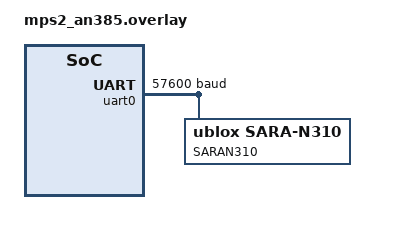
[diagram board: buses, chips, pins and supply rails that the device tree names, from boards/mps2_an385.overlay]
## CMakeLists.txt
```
# SPDX-License-Identifier: Apache-2.0

cmake_minimum_required(VERSION 3.13.1)
find_package(Zephyr REQUIRED HINTS $ENV{ZEPHYR_BASE})
project(ublox_sara_n310)


zephyr_library_include_directories(
    ${ZEPHYR_BASE}/include
    ${ZEPHYR_BASE}/subsys/net/lib/socks/
    ${ZEPHYR_BASE}/drivers/modem/
)

target_sources(app PRIVATE src/main.c src/n310_stub.c )
```

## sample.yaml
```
sample:
  name: N310 Modem Sample
tests:
  sample.drivers.ublox_sara_n310:
    # tags: modem net
  #  depends_on: gpio modem net
    build_only: false
    platform_allow:  stm32l1_disco
     #integration_platforms: frdm_k64f
```

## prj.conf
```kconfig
### required for driver but selected by board/SoC already ###
CONFIG_SERIAL=y

# ### required for driver but not selected by board/SoC ###
CONFIG_NETWORKING=y
CONFIG_NET_SOCKETS=y
CONFIG_NET_SOCKETS_POSIX_NAMES=y
CONFIG_NET_IPV4=y
CONFIG_NET_IPV6=n
CONFIG_LOG=y
CONFIG_MODEM=y
CONFIG_MODEM_SOCKET=y
CONFIG_MODEM_CONTEXT=y
CONFIG_MODEM_LOG_LEVEL_DBG=y
# CONFIG_MODEM_UBLOX_SARA_N310_INIT_PRIORITY=80
CONFIG_NET_OFFLOAD=y
CONFIG_ZTEST=y
CONFIG_ZTEST_MOCKING=y
```

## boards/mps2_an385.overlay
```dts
/*
 * Copyright (c) 2021 Abel Sensors
 *
 * SPDX-License-Identifier: Apache-2.0
 */

&uart0 {
    status = "okay";
    current-speed = <57600>;

    saran310 {
        compatible = "ublox,sara-n310";
        label = "SARAN310";
    };
};
```

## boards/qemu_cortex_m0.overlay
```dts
/*
 * Copyright (c) 2021 Abel Sensors
 *
 * SPDX-License-Identifier: Apache-2.0
 */

/* SRAM and FLASH sizes are increased to match that of the stm32l152c */
&sram0 {
	reg = <0x20000000 DT_SIZE_K(32)>;
};

&flash0 {
	reg = <0x08000000 DT_SIZE_K(256)>;
};

&uart0 {
    status = "okay";
    current-speed = <57600>;

    saran310 {
        compatible = "ublox,sara-n310";
        label = "SARAN310";
    };
};
```

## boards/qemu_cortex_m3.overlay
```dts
&uart0 {
    status = "okay";
    current-speed = <57600>;

    saran310 {
        compatible = "ublox,sara-n310";
        label = "SARAN310";
    };
};
```

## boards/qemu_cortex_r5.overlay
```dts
/*
 * Copyright (c) 2021 Abel Sensors
 *
 * SPDX-License-Identifier: Apache-2.0
 */

/* SRAM and FLASH sizes are increased to match that of the stm32l152c */
// &sram0 {
// 	reg = <0x20000000 DT_SIZE_K(32)>;
// };

// &flash0 {
// 	reg = <0x08000000 DT_SIZE_K(256)>;
// };

&uart0 {
    status = "okay";
    current-speed = <57600>;

    saran310 {
        compatible = "ublox,sara-n310";
        label = "SARAN310";
    };
};
```

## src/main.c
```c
/*
 * Copyright (c) 2021 Abel Sensors
 *
 * SPDX-License-Identifier: Apache-2.0
// //  */

#include <zephyr.h>
#include <net/socket.h>
#include <drivers/modem/ublox-sara-n310.h>
#include <ztest.h>
#include <device.h>
#include "sockets_internal.h"
#include <sys/fdtable.h>


#include <modem_context.h>
#include <modem_cmd_handler.h>
#include <modem_iface_uart.h>
#include <ztest.h>

#include "n310_stub.h"

#define N310_DEVICE_LABEL DT_LABEL(DT_INST(0, ublox_sara_n310))
#define MAX_BUF 512

static const struct device *dev_ubloxn3;
extern struct socket_op_vtable *offload_socket_fd_op_vtable_mock;
extern struct net_if_api* api_funcs_mock;


static int offload_bind_mock(void *obj, const struct sockaddr *addr,
			     socklen_t addrlen)
{
	printk("offload_bind_mock\n");
	return 0;
}

static int offload_connect_mock(void *obj, const struct sockaddr *addr,
				socklen_t addrlen)
{
	printk("offload_connect_mock");
	return 0;
}

static ssize_t offload_sendto_mock(void *obj, const void *buf, size_t len,
			      int flags, const struct sockaddr *to,
			      socklen_t tolen)
{
	printk("offload_sendto_mock");
	return 0;
}

void test_device_struct(){
        dev_ubloxn3 = device_get_binding(N310_DEVICE_LABEL);
        zassert_not_null(dev_ubloxn3, "N310 device not found");
        struct modem_data *mdm = dev_ubloxn3->data;
        zassert_not_null(mdm, "N310 modem data not found");
}

void test_info_set(){
       zassert_not_null(n310_get_manufacturer(),"N310 Manufacturer not set");
       zassert_not_null(n310_get_iccid(),"N310 iccid not set");
       zassert_not_null(n310_get_model(),"N310 model not set");
       zassert_not_null(n310_get_revision(),"N310 revision not set");
       zassert_not_null(n310_get_imei(),"N310 imei not set");
       zassert_not_null(n310_get_ip(),"N310 IP not set");
}

void test_socket(){
	int ret = create_socket_stub(NULL,NULL);
	zassert_true(ret>=0,"n310 create socket not working");

	/*create socket in user space */
	int sockfd = socket(AF_INET, SOCK_DGRAM, IPPROTO_UDP);
	zassert_true(sockfd >= 0, "socket in user space not created");

	struct sockaddr_in addr;
	memset(&addr, 0, sizeof(addr));
	addr.sin_family = AF_INET;
	addr.sin_port = htons(4242);
	inet_pton(AF_INET, "192.168.0.20", &addr.sin_addr);

	ret = connect(sockfd, (const struct sockaddr *)&addr, sizeof(addr));
	zassert_true(ret >= 0, "connect failed");

    char *buffer = "ABDD";
	ret = sendto(sockfd, buffer, strlen(buffer) / 2,
		   RELEASE_AFTER_FIRST_DOWNLINK, (const struct sockaddr *)&addr,
		   sizeof(addr));
	zassert_true(ret >= 0, "send failed");
	
}

void test_status(){	
	int ret = n310_get_state();
	zassert_true(ret>=0,"n310 state not working correctly");
}

void test_main(void)
{
	setup_tests();
	ztest_test_suite(n310_test,
    ztest_unit_test(test_info_set),
    ztest_unit_test(test_device_struct),
    ztest_unit_test(test_status),
    ztest_unit_test(test_socket)	
	);
	ztest_run_test_suite(n310_test);
}
```

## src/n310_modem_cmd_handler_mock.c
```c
#include "n310_modem_cmd_handler_mock.h"

#include "tracing.h"
 int cmd_handler_process_iface_data(struct modem_cmd_handler_data *data,
					  struct modem_iface *iface)
{
	struct net_buf *last;
	size_t bytes_read = 0;
	int ret;

	if (!data->rx_buf) {
		data->rx_buf = net_buf_alloc(data->buf_pool,
					     data->alloc_timeout);
		if (!data->rx_buf) {
			/* there is potentially more data waiting */
			return -ENOMEM;
		}
	}

	last = net_buf_frag_last(data->rx_buf);

	/* read all of the data from modem iface */
	while (true) {
		struct net_buf *frag = last;
		size_t frag_room = net_buf_tailroom(frag);

		if (!frag_room) {
			frag = net_buf_alloc(data->buf_pool,
					    data->alloc_timeout);
			if (!frag) {
				/* there is potentially more data waiting */
				return -ENOMEM;
			}

			net_buf_frag_insert(last, frag);
			last = frag;

			frag_room = net_buf_tailroom(frag);
		}

		ret = iface->read(iface, net_buf_tail(frag), frag_room,
				  &bytes_read);
		if (ret < 0 || bytes_read == 0) {
			/* modem context buffer is empty */
			return 0;
		}

		net_buf_add(frag, bytes_read);
	}
}


static bool starts_with(struct net_buf *buf, const char *str)
{
	int pos = 0;

	while (buf && buf->len && *str) {
		if (*(buf->data + pos) == *str) {
			str++;
			pos++;
			if (pos >= buf->len) {
				buf = buf->frags;
				pos = 0;
			}
		} else {
			return false;
		}
	}

	if (*str == 0) {
		return true;
	}

	return false;
}


/* return scanned length for params */
static int parse_params(struct modem_cmd_handler_data *data,  size_t match_len,
			const struct modem_cmd *cmd,
			uint8_t **argv, size_t argv_len, uint16_t *argc)
{
	int i, count = 0;
	size_t begin, end;

	if (!data || !data->match_buf || !match_len || !cmd || !argv || !argc) {
		return -EINVAL;
	}

	begin = cmd->cmd_len;
	end = cmd->cmd_len;
	while (end < match_len) {
		for (i = 0; i < strlen(cmd->delim); i++) {
			if (data->match_buf[end] == cmd->delim[i]) {
				/* mark a parameter beginning */
				argv[*argc] = &data->match_buf[begin];
				/* end parameter with NUL char */
				data->match_buf[end] = '\0';
				/* bump begin */
				begin = end + 1;
				count += 1;
				(*argc)++;
				break;
			}
		}

		if (count >= cmd->arg_count_max) {
			break;
		}

		if (*argc == argv_len) {
			break;
		}

		end++;
	}

	/* consider the ending portion a param if end > begin */
	if (end > begin) {
		/* mark a parameter beginning */
		argv[*argc] = &data->match_buf[begin];
		/* end parameter with NUL char
		 * NOTE: if this is at the end of match_len will probably
		 * be overwriting a NUL that's already ther
		 */
		data->match_buf[end] = '\0';
		(*argc)++;
	}

	/* missing arguments */
	if (*argc < cmd->arg_count_min) {
		return -EAGAIN;
	}

	/*
	 * return the beginning of the next unfinished param so we don't
	 * "skip" any data that could be parsed later.
	 */
	return begin - cmd->cmd_len;
}

/* process a "matched" command */
static int process_cmd(const struct modem_cmd *cmd, size_t match_len,
			struct modem_cmd_handler_data *data)
{
	int parsed_len = 0, ret = 0;
	uint8_t *argv[20];
	uint16_t argc = 0U;

	/* reset params */
	memset(argv, 0, sizeof(argv[0]) * ARRAY_SIZE(argv));

	/* do we need to parse arguments? */
	if (cmd->arg_count_max > 0U) {
		/* returns < 0 on error and > 0 for parsed len */
		parsed_len = parse_params(data, match_len, cmd,
					  argv, ARRAY_SIZE(argv), &argc);
		if (parsed_len < 0) {
			return parsed_len;
		}
	}

	/* skip cmd_len + parsed len */
	data->rx_buf = net_buf_skip(data->rx_buf, cmd->cmd_len + parsed_len);

	/* call handler */
	if (cmd->func) {
		ret = cmd->func(data, match_len - cmd->cmd_len - parsed_len,
				argv, argc);
		if (ret == -EAGAIN) {
			/* wait for more data */
			net_buf_push(data->rx_buf, cmd->cmd_len + parsed_len);
		}
	}

	return ret;
}



 bool is_crlf(uint8_t c)
{
	if (c == '\n' || c == '\r') {
		return true;
	} else {
		return false;
	}
}


static uint16_t findcrlf(struct modem_cmd_handler_data *data,
		      struct net_buf **frag, uint16_t *offset)
{
	struct net_buf *buf = data->rx_buf;
	uint16_t len = 0U, pos = 0U;

	while (buf && buf->len && !is_crlf(*(buf->data + pos))) {
		if (pos + 1 >= buf->len) {
			len += buf->len;
			buf = buf->frags;
			pos = 0U;
		} else {
			pos++;
		}
	}

	if (buf && buf->len && is_crlf(*(buf->data + pos))) {
		len += pos;
		*offset = pos;
		*frag = buf;
		return len;
	}

	return 0;
}


 void skipcrlf(struct modem_cmd_handler_data *data)
{
	while (data->rx_buf && data->rx_buf->len &&
			is_crlf(*data->rx_buf->data)) {
		net_buf_pull_u8(data->rx_buf);
		if (!data->rx_buf->len) {
			data->rx_buf = net_buf_frag_del(NULL, data->rx_buf);
		}
	}
}

 void cmd_handler_process_rx_buf(struct modem_cmd_handler_data *data)
{
	const struct modem_cmd *cmd;
	struct net_buf *frag = NULL;
	size_t match_len;
	int ret;
	uint16_t offset, len;

	/* process all of the data in the net_buf */
	while (data->rx_buf && data->rx_buf->len) {
		skipcrlf(data);
		if (!data->rx_buf || !data->rx_buf->len) {
			break;
		}

		cmd = find_cmd_direct_match(data);
		if (cmd && cmd->func) {
			ret = cmd->func(data, cmd->cmd_len, NULL, 0);
			if (ret == -EAGAIN) {
				/* Wait for more data */
				break;
			} else if (ret > 0) {
				//LOG_DBG("match direct cmd [%s] (ret:%d)",
				//	log_strdup(cmd->cmd), ret);
				data->rx_buf = net_buf_skip(data->rx_buf, ret);
			}

			continue;
		}

		frag = NULL;
		/* locate next CR/LF */
		len = findcrlf(data, &frag, &offset);
		if (!frag) {
			/*
			 * No CR/LF found.  Let's exit and leave any data
			 * for next time
			 */
			break;
		}

		/* load match_buf with content up to the next CR/LF */
		/* NOTE: keep room in match_buf for ending NUL char */
		match_len = net_buf_linearize(data->match_buf,
					      data->match_buf_len - 1,
					      data->rx_buf, 0, len);
		if ((data->match_buf_len - 1) < match_len) {
		//	LOG_ERR("Match buffer size (%zu) is too small for "
		//		"incoming command size: %u!  Truncating!",
		//		data->match_buf_len - 1, match_len);
		}

#if defined(CONFIG_MODEM_CONTEXT_VERBOSE_DEBUG)
		LOG_HEXDUMP_DBG(data->match_buf, match_len, "RECV");
#endif

		k_sem_take(&data->sem_parse_lock, K_FOREVER);

		cmd = find_cmd_match(data);
		if (cmd) {
			//LOG_DBG("match cmd [%s] (len:%u)",
		//		log_strdup(cmd->cmd), match_len);

			if (process_cmd(cmd, match_len, data) == -EAGAIN) {
				k_sem_give(&data->sem_parse_lock);
				break;
			}

			/*
			 * make sure we didn't run out of data during
			 * command processing
			 */
			if (!data->rx_buf) {
				/* we're out of data, exit early */
				k_sem_give(&data->sem_parse_lock);
				break;
			}

			frag = NULL;
			/*
			 * We've handled the current line.
			 * Let's skip any "extra" data in that
			 * line, and look for the next CR/LF.
			 * This leaves us ready for the next
			 * handler search.
			 * Ignore the length returned.
			 */
			(void)findcrlf(data, &frag, &offset);
		}

		k_sem_give(&data->sem_parse_lock);

		if (frag && data->rx_buf) {
			/* clear out processed line (net_buf's) */
			while (frag && data->rx_buf != frag) {
				data->rx_buf = net_buf_frag_del(NULL,
								data->rx_buf);
			}

			net_buf_pull(data->rx_buf, offset);
		}
	}
}


/*
 * check 3 arrays of commands for a match in match_buf:
 * - response handlers[0]
 * - unsolicited handlers[1]
 * - current assigned handlers[2]
 */
 const struct modem_cmd *find_cmd_match(
		struct modem_cmd_handler_data *data)
{
	int j, i;

	for (j = 0; j < ARRAY_SIZE(data->cmds); j++) {
		if (!data->cmds[j] || data->cmds_len[j] == 0U) {
			continue;
		}

		for (i = 0; i < data->cmds_len[j]; i++) {
			/* match on "empty" cmd */
			if (strlen(data->cmds[j][i].cmd) == 0 ||
			    strncmp(data->match_buf, data->cmds[j][i].cmd,
				    data->cmds[j][i].cmd_len) == 0) {
				return &data->cmds[j][i];
			}
		}
	}

	return NULL;
}

 const struct modem_cmd *find_cmd_direct_match(
		struct modem_cmd_handler_data *data)
{
	int j, i;

	for (j = 0; j < ARRAY_SIZE(data->cmds); j++) {
		if (!data->cmds[j] || data->cmds_len[j] == 0U) {
			continue;
		}

		for (i = 0; i < data->cmds_len[j]; i++) {
			/* match start of cmd */
			if (data->cmds[j][i].direct &&
			    (data->cmds[j][i].cmd[0] == '\0' ||
			     starts_with(data->rx_buf, data->cmds[j][i].cmd))) {
				return &data->cmds[j][i];
			}
		}
	}

	return NULL;
}
```

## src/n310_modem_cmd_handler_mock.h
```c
 
#include <device.h>
#include <sys_clock.h>
#include <modem_context.h>
#include <modem_cmd_handler.h>
#include <modem_iface_uart.h>
#include <ztest.h>
#include "modem_cmd_handler.h"


 const struct modem_cmd *find_cmd_direct_match(
		struct modem_cmd_handler_data *data);

 const struct modem_cmd *find_cmd_match(
		struct modem_cmd_handler_data *data);

 void skipcrlf(struct modem_cmd_handler_data *data);
 
 int cmd_handler_process_iface_data(struct modem_cmd_handler_data *data,
					  struct modem_iface *iface);

                      
 void cmd_handler_process_rx_buf(struct modem_cmd_handler_data *data);
```

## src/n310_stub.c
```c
/*
 * Copyright (c) 2021 Abel Sensors
 *
 * SPDX-License-Identifier: Apache-2.0
 */

#include <device.h>
#include <sys_clock.h>
#include <modem_context.h>
#include <modem_cmd_handler.h>
#include <modem_iface_uart.h>
#include <ztest.h>
#include "modem_cmd_handler.h"
#include "modem_socket.h"
#include "sockets_internal.h"

static void cmd_handler_process(struct modem_cmd_handler *cmd_handler, struct modem_iface *iface)
{
	printk("cmd_handler_process");
}

int modem_cmd_send(struct modem_iface *iface, struct modem_cmd_handler *handler,
		   const struct modem_cmd *handler_cmds, size_t handler_cmds_len,
		   const uint8_t *buf, struct k_sem *sem, k_timeout_t timeout)
{
	printk("modem_cmd_send\n");
	if (!iface || !handler || !handler->cmd_handler_data || !buf) {
		// return -EINVAL;
		printk("modem not set correctly");
		printk("iface: %x\n", (unsigned int)iface);
		printk("handler: %x\n", (unsigned int)handler);
		printk("cmd handler data: %x\n", (unsigned int)handler->cmd_handler_data);
		printk("buf: %x\n", (unsigned int)buf);
	}
	int ret = 0;

	if (!iface || !handler || !handler->cmd_handler_data || !buf) {
		//	return -EINVAL;
		printk("something null\n");
	}

	ret = modem_cmd_handler_update_cmds(handler->cmd_handler_data, handler_cmds,
					    handler_cmds_len, true);
	/* unset handlers and ignore any errors */
	(void)modem_cmd_handler_update_cmds(handler->cmd_handler_data, NULL, 0U, false);

	return 0;
}

int modem_cmd_send_nolock(struct modem_iface *iface, struct modem_cmd_handler *handler,
			  const struct modem_cmd *handler_cmds, size_t handler_cmds_len,
			  const uint8_t *buf, struct k_sem *sem, k_timeout_t timeout)
{
	printk("modem_cmd_send_nolock\n");
	return 0;
}

int modem_cmd_handler_init(struct modem_cmd_handler *handler, struct modem_cmd_handler_data *data)
{
	printk("handler_init\n");

	if (!handler || !data) {
		return -EINVAL;
	}

	if (!data->match_buf_len) {
		return -EINVAL;
	}

	if (data->eol == NULL) {
		data->eol_len = 0;
	} else {
		data->eol_len = strlen(data->eol);
	}

	handler->cmd_handler_data = data;
	handler->process = cmd_handler_process;

	k_sem_init(&data->sem_tx_lock, 1, 1);
	k_sem_init(&data->sem_parse_lock, 1, 1);

	return 0;
}

int modem_iface_uart_init(struct modem_iface *iface, struct modem_iface_uart_data *data,
			  const char *dev_name)
{
	printk("uart_init\n");
	/* get UART device */
	const struct device *dev = device_get_binding(dev_name);
	// const struct device *prev = iface->dev;

	if (!dev) {
		printk("no dev in uart init\n");
		return -ENODEV;
	}

	return 0;
}

int modem_cmd_handler_set_error(struct modem_cmd_handler_data *data, int error_code)
{
	printk("set_error");
	if (!data) {
		printk("no data!\n");
		return -EINVAL;
	}

	data->last_error = error_code;
	return 0;
}

int modem_cmd_handler_get_error(struct modem_cmd_handler_data *data)
{
	printk("modem_cmd_handler_get_error\n");
	if (!data) {
		printk("no data set!\n");
		return -EINVAL;
	}

	return data->last_error;
}

int modem_cmd_handler_update_cmds(struct modem_cmd_handler_data *data,
				  const struct modem_cmd *handler_cmds, size_t handler_cmds_len,
				  bool reset_error_flag)
{
	printk("modem_cmd_handler_update_cmds\n");

	if (!data) {
		printk("no data!");
		return -EINVAL;
	}

	return 0;
}

int z_impl_sys_rand32_get(void)
{
	printk("z_impl_sys_rand32_get\n");
	return 32;
}

/* run a set of AT commands */
int modem_cmd_handler_setup_cmds(struct modem_iface *iface, struct modem_cmd_handler *handler,
				 const struct setup_cmd *cmds, size_t cmds_len, struct k_sem *sem,
				 k_timeout_t timeout)
{
	int ret = 0, i;

	for (i = 0; i < cmds_len; i++) {
		if (i) {
			//k_sleep(K_MSEC(50));
		}

		if (cmds[i].handle_cmd.cmd && cmds[i].handle_cmd.func) {
			ret = modem_cmd_send(iface, handler, &cmds[i].handle_cmd, 1U,
					     cmds[i].send_cmd, sem, timeout);
		} else {
			ret = modem_cmd_send(iface, handler, NULL, 0, cmds[i].send_cmd, sem,
					     timeout);
		}

		if (ret < 0) {
			printk("!!!!!!!!!!!!!");
			//		LOG_ERR("command %s ret:%d",
			//		log_strdup(cmds[i].send_cmd), ret);
			break;
		}
	}

	return ret;
}

/* needed for stubbing device driver */
const struct device *device_get_binding_stub(const char *name);
#define device_get_binding device_get_binding_stub
#define CONFIG_MODEM_UBLOX_SARA_N310_INIT_PRIORITY 80

/* file itself */
#include "ublox-sara-n310.c"

extern const struct socket_op_vtable offload_socket_fd_op_vtable;
struct socket_op_vtable *offload_socket_fd_op_vtable_mock;

extern int create_socket(struct modem_socket *sock, const struct sockaddr *addr);

int create_socket_stub(struct modem_socket *sock, const struct sockaddr *addr)
{
	return create_socket(sock, addr);
}

extern int offload_connect(void *obj, const struct sockaddr *addr, socklen_t addrlen);

extern const struct net_if_api api_funcs;
struct net_if_api *api_funcs_mock = (struct net_if_api *)&api_funcs;

extern void modem_net_iface_init(struct net_if *iface);

void modem_net_iface_init_mock(struct net_if *iface)
{
	printk("iface_init_mock\n");
	modem_net_iface_init(iface);
}
```

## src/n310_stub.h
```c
#ifndef _N310_STUB_H_
#define _N310_STUB_H_

// int create_socket_stub(struct modem_socket *sock, const struct sockaddr *addr);
// void modem_net_iface_init_mock(struct net_if *iface);
// ssize_t offload_recvfrom_stub(void *obj, void *buf, size_t len, int flags,
// 			      struct sockaddr *from, socklen_t *fromlen);

#endif
```
